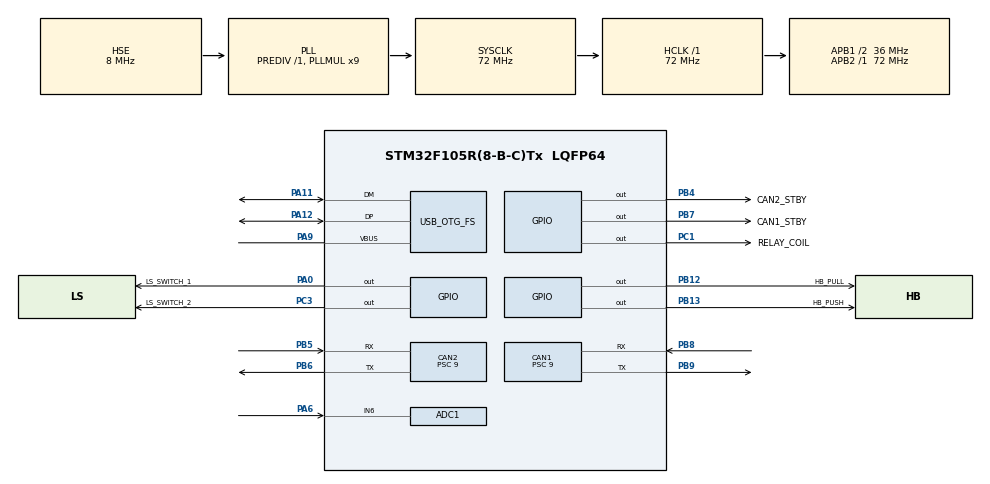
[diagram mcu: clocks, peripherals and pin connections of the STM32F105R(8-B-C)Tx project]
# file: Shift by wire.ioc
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ADC1.Channel-0\#ChannelRegularConversion=ADC_CHANNEL_6
ADC1.ContinuousConvMode=ENABLE
ADC1.NbrOfConversionFlag=1
ADC1.Rank-0\#ChannelRegularConversion=1
ADC1.SamplingTime-0\#ChannelRegularConversion=ADC_SAMPLETIME_1CYCLE_5
ADC1.master=1
CAN1.ABOM=ENABLE
CAN1.BS1=CAN_BS1_6TQ
CAN1.CalculateBaudRate=500000
CAN1.CalculateTimeBit=2000
CAN1.CalculateTimeQuantum=250.0
CAN1.NART=ENABLE
CAN1.Prescaler=9
CAN2.ABOM=ENABLE
CAN2.BS1=CAN_BS1_6TQ
CAN2.CalculateBaudRate=500000
CAN2.CalculateTimeBit=2000
CAN2.CalculateTimeQuantum=250.0
CAN2.NART=ENABLE
CAN2.Prescaler=9
FREERTOS.BinarySemaphores01=SartStopSem01,Dynamic,NULL;HandBrakeSem02,Dynamic,NULL;ParkBrakeSem03,Dynamic,NULL
FREERTOS.INCLUDE_vTaskDelayUntil=1
FREERTOS.Queues01=myQueue01,8,typedef_B5h,0,Dynamic,NULL,NULL;myQueue02,8,typedef_Command,0,Dynamic,NULL,NULL
FREERTOS.Tasks01=defaultTask,0,128,StartDefaultTask,Default,NULL,Dynamic,NULL,NULL;myButtonTask,-1,128,StartTask02,Default,NULL,Dynamic,NULL,NULL;myTask03,-2,128,HandBrake,Default,NULL,Dynamic,NULL,NULL;myTask04,-2,128,StartStop,Default,NULL,Dynamic,NULL,NULL;myTask05,-2,128,ParkBrake,Default,NULL,Dynamic,NULL,NULL
Mcu.Family=STM32F1
Mcu.Name=STM32F105R(8-B-C)Tx
Mcu.Package=LQFP64
NVIC.CAN1_RX0_IRQn=true\:5\:0\:false\:false\:true\:true\:true\:true\:true
NVIC.CAN1_TX_IRQn=true\:5\:0\:false\:false\:true\:true\:true\:true\:true
NVIC.CAN2_RX0_IRQn=true\:5\:0\:false\:false\:true\:true\:true\:true\:true
NVIC.CAN2_RX1_IRQn=true\:5\:0\:false\:false\:true\:true\:true\:true\:true
NVIC.CAN2_TX_IRQn=true\:5\:0\:false\:false\:true\:true\:true\:true\:true
NVIC.OTG_FS_IRQn=true\:5\:0\:false\:false\:true\:true\:false\:true\:true
NVIC.PriorityGroup=NVIC_PRIORITYGROUP_4
NVIC.TIM6_IRQn=true\:0\:0\:false\:false\:true\:false\:false\:true\:true
NVIC.TimeBase=TIM6_IRQn
NVIC.TimeBaseIP=TIM6
PA0-WKUP.GPIO_Label=LS_SWITCH_1
PA0-WKUP.Signal=GPIO_Output
PA11.Mode=Device_Only
PA11.Signal=USB_OTG_FS_DM
PA12.Mode=Device_Only
PA12.Signal=USB_OTG_FS_DP
PA13.Mode=Serial_Wire
PA13.Signal=SYS_JTMS-SWDIO
PA14.Mode=Serial_Wire
PA14.Signal=SYS_JTCK-SWCLK
PA6.Signal=ADCx_IN6
PA9.Mode=Activate_VBUS
PA9.Signal=USB_OTG_FS_VBUS
PB12.GPIO_Label=HB_PULL
PB12.Signal=GPIO_Output
PB13.GPIO_Label=HB_PUSH
PB13.Signal=GPIO_Output
PB4.GPIO_Label=CAN2_STBY
PB4.Signal=GPIO_Output
PB5.Mode=CAN_Activate
PB5.Signal=CAN2_RX
PB6.Mode=CAN_Activate
PB6.Signal=CAN2_TX
PB7.GPIO_Label=CAN1_STBY
PB7.Signal=GPIO_Output
PB8.Mode=CAN_Activate
PB8.Signal=CAN1_RX
PB9.Mode=CAN_Activate
PB9.Signal=CAN1_TX
PC1.GPIO_Label=RELAY_COIL
PC1.Signal=GPIO_Output
PC3.GPIO_Label=LS_SWITCH_2
PC3.Signal=GPIO_Output
PD0-OSC_IN.Mode=HSE-External-Oscillator
PD0-OSC_IN.Signal=RCC_OSC_IN
PD1-OSC_OUT.Mode=HSE-External-Oscillator
PD1-OSC_OUT.Signal=RCC_OSC_OUT
ProjectManager.HeapSize=0x200
ProjectManager.StackSize=0x400
ProjectManager.TargetToolchain=STM32CubeIDE
RCC.ADCPresc=RCC_ADCPCLK2_DIV6
RCC.AHBFreq_Value=72000000
RCC.APB1CLKDivider=RCC_HCLK_DIV2
RCC.APB1Freq_Value=36000000
RCC.APB1TimFreq_Value=72000000
RCC.APB2Freq_Value=72000000
RCC.APB2TimFreq_Value=72000000
RCC.HCLKFreq_Value=72000000
RCC.PLLMUL=RCC_PLL_MUL9
RCC.PLLSourceVirtual=RCC_PLLSOURCE_HSE
RCC.SYSCLKFreq_VALUE=72000000
RCC.SYSCLKSource=RCC_SYSCLKSOURCE_PLLCLK
RCC.USBFreq_Value=48000000
SH.ADCx_IN6.0=ADC1_IN6,IN6
USB_DEVICE.CLASS_NAME_FS=CDC
USB_DEVICE.VirtualMode=Cdc
USB_DEVICE.VirtualModeFS=Cdc_FS
USB_OTG_FS.VirtualMode=Device_Only
VP_FREERTOS_VS_CMSIS_V1.Mode=CMSIS_V1
VP_SYS_VS_tim6.Mode=TIM6
VP_USB_DEVICE_VS_USB_DEVICE_CDC_FS.Mode=CDC_FS
board=custom

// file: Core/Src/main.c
/* USER CODE BEGIN Header */
/**
  ******************************************************************************
  * @file           : main.c
  * @brief          : Main program body
  ******************************************************************************
  * @attention
  *
  * Copyright (c) 2023 STMicroelectronics.
  * All rights reserved.
  *
  * This software is licensed under terms that can be found in the LICENSE file
  * in the root directory of this software component.
  * If no LICENSE file comes with this software, it is provided AS-IS.
  *
  ******************************************************************************
  */
/* USER CODE END Header */
#include "main.h"
#include "cmsis_os.h"
#include "usb_device.h"

/* USER CODE BEGIN Includes */
#include "can_tools.h"
#include "GolfChecksum.h"
#include "GolfShift.h"
#include "GolfButtonImitation.h"

#include "usbd_cdc_if.h"
/* USER CODE END Includes */

/* USER CODE BEGIN PTD */
static uint8_t receive[64];
/* USER CODE END PTD */

ADC_HandleTypeDef hadc1;

CAN_HandleTypeDef hcan1;
CAN_HandleTypeDef hcan2;

osThreadId defaultTaskHandle;
osThreadId myButtonTaskHandle;
osThreadId myTask03Handle;
osThreadId myTask04Handle;
osThreadId myTask05Handle;
osMessageQId myQueue01Handle;
osMessageQId myQueue02Handle;
osSemaphoreId SartStopSem01Handle;
osSemaphoreId HandBrakeSem02Handle;
osSemaphoreId ParkBrakeSem03Handle;
/* USER CODE BEGIN PV */
typedef_343h ACCFrame;
typedef_Command Commandstruct;
typedef_343h Enject;
typedef_LTA LTA;
uint32_t adc;
/* USER CODE END PV */

void SystemClock_Config(void);
static void MX_GPIO_Init(void);
static void MX_CAN1_Init(void);
static void MX_CAN2_Init(void);
static void MX_ADC1_Init(void);
void StartDefaultTask(void const * argument);
void StartTask02(void const * argument);
void HandBrake(void const * argument);
void StartStop(void const * argument);
void ParkBrake(void const * argument);

int main(void)
{

  /* MCU Configuration--------------------------------------------------------*/

  /* Reset of all peripherals, Initializes the Flash interface and the Systick. */
  HAL_Init();

  /* Configure the system clock */
  SystemClock_Config();

  /* Initialize all configured peripherals */
  MX_GPIO_Init();
  MX_CAN1_Init();
  MX_CAN2_Init();
  MX_ADC1_Init();
  /* USER CODE BEGIN 2 */
  CAN_FilterConfig();
  HAL_ADC_Start(&hadc1);
  /* USER CODE END 2 */

  /* Create the semaphores(s) */
  /* definition and creation of SartStopSem01 */
  osSemaphoreDef(SartStopSem01);
  SartStopSem01Handle = osSemaphoreCreate(osSemaphore(SartStopSem01), 1);

  /* definition and creation of HandBrakeSem02 */
  osSemaphoreDef(HandBrakeSem02);
  HandBrakeSem02Handle = osSemaphoreCreate(osSemaphore(HandBrakeSem02), 1);

  /* definition and creation of ParkBrakeSem03 */
  osSemaphoreDef(ParkBrakeSem03);
  ParkBrakeSem03Handle = osSemaphoreCreate(osSemaphore(ParkBrakeSem03), 1);

  /* Create the queue(s) */
  /* definition and creation of myQueue01 */
  osMessageQDef(myQueue01, 8, uint8_t[8]);
  myQueue01Handle = osMessageCreate(osMessageQ(myQueue01), NULL);

  /* definition and creation of myQueue02 */
  osMessageQDef(myQueue02, 8, typedef_Command);
  myQueue02Handle = osMessageCreate(osMessageQ(myQueue02), NULL);

  /* Create the thread(s) */
  /* definition and creation of defaultTask */
  osThreadDef(defaultTask, StartDefaultTask, osPriorityNormal, 0, 128);
  defaultTaskHandle = osThreadCreate(osThread(defaultTask), NULL);

  /* definition and creation of myButtonTask */
  osThreadDef(myButtonTask, StartTask02, osPriorityBelowNormal, 0, 128);
  myButtonTaskHandle = osThreadCreate(osThread(myButtonTask), NULL);

  /* definition and creation of myTask03 */
  osThreadDef(myTask03, HandBrake, osPriorityLow, 0, 128);
  myTask03Handle = osThreadCreate(osThread(myTask03), NULL);

  /* definition and creation of myTask04 */
  osThreadDef(myTask04, StartStop, osPriorityLow, 0, 128);
  myTask04Handle = osThreadCreate(osThread(myTask04), NULL);

  /* definition and creation of myTask05 */
  osThreadDef(myTask05, ParkBrake, osPriorityLow, 0, 128);
  myTask05Handle = osThreadCreate(osThread(myTask05), NULL);

  /* Start scheduler */
  osKernelStart();

  /* We should never get here as control is now taken by the scheduler */
  /* Infinite loop */
  while (1)
  {

  }
}

void SystemClock_Config(void)
{
  RCC_OscInitTypeDef RCC_OscInitStruct = {0};
  RCC_ClkInitTypeDef RCC_ClkInitStruct = {0};
  RCC_PeriphCLKInitTypeDef PeriphClkInit = {0};

  /** Initializes the RCC Oscillators according to the specified parameters
  * in the RCC_OscInitTypeDef structure.
  */
  RCC_OscInitStruct.OscillatorType = RCC_OSCILLATORTYPE_HSE;
  RCC_OscInitStruct.HSEState = RCC_HSE_ON;
  RCC_OscInitStruct.HSEPredivValue = RCC_HSE_PREDIV_DIV1;
  RCC_OscInitStruct.HSIState = RCC_HSI_ON;
  RCC_OscInitStruct.Prediv1Source = RCC_PREDIV1_SOURCE_HSE;
  RCC_OscInitStruct.PLL.PLLState = RCC_PLL_ON;
  RCC_OscInitStruct.PLL.PLLSource = RCC_PLLSOURCE_HSE;
  RCC_OscInitStruct.PLL.PLLMUL = RCC_PLL_MUL9;
  RCC_OscInitStruct.PLL2.PLL2State = RCC_PLL_NONE;
  if (HAL_RCC_OscConfig(&RCC_OscInitStruct) != HAL_OK)
  {
    Error_Handler();
  }

  /** Initializes the CPU, AHB and APB buses clocks
  */
  RCC_ClkInitStruct.ClockType = RCC_CLOCKTYPE_HCLK|RCC_CLOCKTYPE_SYSCLK
                              |RCC_CLOCKTYPE_PCLK1|RCC_CLOCKTYPE_PCLK2;
  RCC_ClkInitStruct.SYSCLKSource = RCC_SYSCLKSOURCE_PLLCLK;
  RCC_ClkInitStruct.AHBCLKDivider = RCC_SYSCLK_DIV1;
  RCC_ClkInitStruct.APB1CLKDivider = RCC_HCLK_DIV2;
  RCC_ClkInitStruct.APB2CLKDivider = RCC_HCLK_DIV1;

  if (HAL_RCC_ClockConfig(&RCC_ClkInitStruct, FLASH_LATENCY_2) != HAL_OK)
  {
    Error_Handler();
  }
  PeriphClkInit.PeriphClockSelection = RCC_PERIPHCLK_ADC|RCC_PERIPHCLK_USB;
  PeriphClkInit.AdcClockSelection = RCC_ADCPCLK2_DIV6;
  PeriphClkInit.UsbClockSelection = RCC_USBCLKSOURCE_PLL_DIV3;
  if (HAL_RCCEx_PeriphCLKConfig(&PeriphClkInit) != HAL_OK)
  {
    Error_Handler();
  }

  /** Configure the Systick interrupt time
  */
  __HAL_RCC_PLLI2S_ENABLE();
}

static void MX_ADC1_Init(void)
{

  ADC_ChannelConfTypeDef sConfig = {0};

  /** Common config
  */
  hadc1.Instance = ADC1;
  hadc1.Init.ScanConvMode = ADC_SCAN_DISABLE;
  hadc1.Init.ContinuousConvMode = ENABLE;
  hadc1.Init.DiscontinuousConvMode = DISABLE;
  hadc1.Init.ExternalTrigConv = ADC_SOFTWARE_START;
  hadc1.Init.DataAlign = ADC_DATAALIGN_RIGHT;
  hadc1.Init.NbrOfConversion = 1;
  if (HAL_ADC_Init(&hadc1) != HAL_OK)
  {
    Error_Handler();
  }

  /** Configure Regular Channel
  */
  sConfig.Channel = ADC_CHANNEL_6;
  sConfig.Rank = ADC_REGULAR_RANK_1;
  sConfig.SamplingTime = ADC_SAMPLETIME_1CYCLE_5;
  if (HAL_ADC_ConfigChannel(&hadc1, &sConfig) != HAL_OK)
  {
    Error_Handler();
  }

}

static void MX_CAN1_Init(void)
{

  hcan1.Instance = CAN1;
  hcan1.Init.Prescaler = 9;
  hcan1.Init.Mode = CAN_MODE_NORMAL;
  hcan1.Init.SyncJumpWidth = CAN_SJW_1TQ;
  hcan1.Init.TimeSeg1 = CAN_BS1_6TQ;
  hcan1.Init.TimeSeg2 = CAN_BS2_1TQ;
  hcan1.Init.TimeTriggeredMode = DISABLE;
  hcan1.Init.AutoBusOff = ENABLE;
  hcan1.Init.AutoWakeUp = DISABLE;
  hcan1.Init.AutoRetransmission = ENABLE;
  hcan1.Init.ReceiveFifoLocked = DISABLE;
  hcan1.Init.TransmitFifoPriority = DISABLE;
  if (HAL_CAN_Init(&hcan1) != HAL_OK)
  {
    Error_Handler();
  }

}

static void MX_CAN2_Init(void)
{

  hcan2.Instance = CAN2;
  hcan2.Init.Prescaler = 9;
  hcan2.Init.Mode = CAN_MODE_NORMAL;
  hcan2.Init.SyncJumpWidth = CAN_SJW_1TQ;
  hcan2.Init.TimeSeg1 = CAN_BS1_6TQ;
  hcan2.Init.TimeSeg2 = CAN_BS2_1TQ;
  hcan2.Init.TimeTriggeredMode = DISABLE;
  hcan2.Init.AutoBusOff = ENABLE;
  hcan2.Init.AutoWakeUp = DISABLE;
  hcan2.Init.AutoRetransmission = ENABLE;
  hcan2.Init.ReceiveFifoLocked = DISABLE;
  hcan2.Init.TransmitFifoPriority = DISABLE;
  if (HAL_CAN_Init(&hcan2) != HAL_OK)
  {
    Error_Handler();
  }

}

static void MX_GPIO_Init(void)
{
  GPIO_InitTypeDef GPIO_InitStruct = {0};

  /* GPIO Ports Clock Enable */
  __HAL_RCC_GPIOD_CLK_ENABLE();
  __HAL_RCC_GPIOC_CLK_ENABLE();
  __HAL_RCC_GPIOA_CLK_ENABLE();
  __HAL_RCC_GPIOB_CLK_ENABLE();

  /*Configure GPIO pin Output Level */
  HAL_GPIO_WritePin(GPIOC, RELAY_COIL_Pin|LS_SWITCH_2_Pin, GPIO_PIN_RESET);

  /*Configure GPIO pin Output Level */
  HAL_GPIO_WritePin(LS_SWITCH_1_GPIO_Port, LS_SWITCH_1_Pin, GPIO_PIN_RESET);

  /*Configure GPIO pin Output Level */
  HAL_GPIO_WritePin(GPIOB, HB_PULL_Pin|HB_PUSH_Pin|CAN2_STBY_Pin|CAN1_STBY_Pin, GPIO_PIN_RESET);

  /*Configure GPIO pins : RELAY_COIL_Pin LS_SWITCH_2_Pin */
  GPIO_InitStruct.Pin = RELAY_COIL_Pin|LS_SWITCH_2_Pin;
  GPIO_InitStruct.Mode = GPIO_MODE_OUTPUT_PP;
  GPIO_InitStruct.Pull = GPIO_NOPULL;
  GPIO_InitStruct.Speed = GPIO_SPEED_FREQ_LOW;
  HAL_GPIO_Init(GPIOC, &GPIO_InitStruct);

  /*Configure GPIO pin : LS_SWITCH_1_Pin */
  GPIO_InitStruct.Pin = LS_SWITCH_1_Pin;
  GPIO_InitStruct.Mode = GPIO_MODE_OUTPUT_PP;
  GPIO_InitStruct.Pull = GPIO_NOPULL;
  GPIO_InitStruct.Speed = GPIO_SPEED_FREQ_LOW;
  HAL_GPIO_Init(LS_SWITCH_1_GPIO_Port, &GPIO_InitStruct);

  /*Configure GPIO pins : HB_PULL_Pin HB_PUSH_Pin CAN2_STBY_Pin CAN1_STBY_Pin */
  GPIO_InitStruct.Pin = HB_PULL_Pin|HB_PUSH_Pin|CAN2_STBY_Pin|CAN1_STBY_Pin;
  GPIO_InitStruct.Mode = GPIO_MODE_OUTPUT_PP;
  GPIO_InitStruct.Pull = GPIO_NOPULL;
  GPIO_InitStruct.Speed = GPIO_SPEED_FREQ_LOW;
  HAL_GPIO_Init(GPIOB, &GPIO_InitStruct);

}

/* USER CODE BEGIN 4 */
uint8_t data[64];
float SetSteering,  setAcc;
void CDC_ReceiveCallback(uint8_t *buf, uint32_t len) {
	memcpy((void *)receive,(const void *)buf,(size_t)len);
	memcpy((void *)&SetSteering,(const void *)&receive[2],(size_t)4);
	memcpy((void *)&setAcc,(const void *)&receive[6],(size_t)4);

}

uint8_t bytes[8],bytesc[8];
typedef_LTA LTAc;
int size;
struct{
	uint8_t rsv: 1;
	uint8_t STEER_REQUEST_2 :1;
	uint8_t LKA_ACTIVE:1;
	uint8_t rsv2:1;
	uint8_t SETME_X3 :2;
	uint8_t BIT :1;
	uint8_t rsv3 :1;
}byte3;
struct{
	uint8_t steer_request: 1;
	uint8_t cnt :6;
	uint8_t set_me_X1:1;
}byte0;
uint8_t SETME_X64 = 0,ANGLE = 0,PERCENTAGE = 0, Checksum;
int16_t SetSteerAngle;
int16_t SetACC;
/* USER CODE END 4 */

void StartDefaultTask(void const * argument)
{
  /* init code for USB_DEVICE */
  MX_USB_DEVICE_Init();
  /* USER CODE BEGIN 5 */
  /* Infinite loop */
  for(;;)
  {

	  xQueueReceive( myQueue02Handle, bytes, portMAX_DELAY );//Task will be blocked until CAN frame is recieved

	  			memcpy((void *)bytesc,(const void *)bytes,(size_t)8);
	  		/*	byte0.set_me_X1 = 1;
	  			byte0.steer_request = 1;
	  			byte0.cnt = (bytes[0] >> 1) & 0x3F;
	  			SETME_X64 = 100;
	  			ANGLE = 0;
	  			PERCENTAGE = 100;
	  			byte3.SETME_X3 = 3;
	  			byte3.STEER_REQUEST_2 = 1;
	  			byte3.BIT = 0;
	  			byte3.LKA_ACTIVE = 0;
	  		 	 	 */

	  			//SetSteerAngle = (int16_t)(Commandstruct.SetSteerAngle / 0.0573);
	  			SetACC = (int16_t)(setAcc / 0.001);
	  			/*bytesc[0] = *(uint8_t*)&byte0;
	  			bytesc[1] = SetSteerAngle >> 8;
	  			bytesc[2] = SetSteerAngle & 0x00FF;
	  			bytesc[3] = *(uint8_t*)&byte3;
				bytesc[4] = PERCENTAGE;
				bytesc[5] = SETME_X64;
				bytesc[6] = ANGLE;*/
	  			bytesc[0] = SetACC >> 8;
	  			bytesc[1] = SetACC & 0x00FF;
	  			bytesc[2] &= 0x40;
	  			bytesc[3] |= 0x40;// permit braking

	  			uint8_t temp[8];
	  			for(int i= 0;i<8;i++)
	  			{
	  				temp[i] = bytesc[7-i];
	  			}
	  			bytesc[7] = toyota_checksum(0x343, *(uint64_t*)temp, 8);
	  			//Checksum = toyota_checksum(0x191, *(uint64_t*)bytesc, 8);
	  			//bytesc[7] = Checksum;
	  		if(Commandstruct.AutonomuosMode){

	  			CAN_SendMessage(&hcan1,0x343,8, bytesc);

	  		}
	  		else
	  		{
	  			uint8_t temp[8];
	  			for(int i= 0;i<8;i++)
	  			{
	  				temp[i] = bytes[7-i];
	  			}
	  			bytes[7] = toyota_checksum(0x343, *(uint64_t*)temp, 8);

	  			CAN_SendMessage(&hcan1,0x343,8, bytes);

	  		}

	  		//osDelay(1);

  }
  /* USER CODE END 5 */
}

void StartTask02(void const * argument)
{
  /* USER CODE BEGIN StartTask02 */
  /* Infinite loop */
  for(;;)
  {
	adc = HAL_ADC_GetValue(&hadc1);
	float min = -100;
	float max = 100;
	Commandstruct.SetSteerAngle = (float)((float)adc - 100.0f) * (float)(max - min) / (float)(2015.0f - 100.0f) + min;
	Commandstruct.SetSteerAngle = Commandstruct.SetSteerAngle > 540 ? 540 : Commandstruct.SetSteerAngle;
	Commandstruct.SetSteerAngle = Commandstruct.SetSteerAngle < -540 ? -540 : Commandstruct.SetSteerAngle;
	osDelay(1);
  }
  /* USER CODE END StartTask02 */
}

void HandBrake(void const * argument)
{
  /* USER CODE BEGIN HandBrake */
  /* Infinite loop */
  for(;;)
  {
	 //uint8_t usb_txbuffer[6] ="txxx" ;
	 // CDC_Transmit_FS(usb_txbuffer, 6);
    osDelay(1);
  }
  /* USER CODE END HandBrake */
}

/* USER CODE BEGIN Header_StartStop */
/**
* @brief Function implementing the myTask04 thread.
* @param argument: Not used
* @retval None
*/
uint8_t byteD[8],bytesE[8];
/* USER CODE END Header_StartStop */
void StartStop(void const * argument)
{
  /* USER CODE BEGIN StartStop */
  /* Infinite loop */
  for(;;)
  {
	  xQueueReceive( myQueue01Handle, byteD, portMAX_DELAY );
		memcpy((void *)bytesE,(const void *)byteD,(size_t)8);
		  			byte0.set_me_X1 = 1;
		  			byte0.steer_request = 1;
		  			byte0.cnt = (bytes[0] >> 1) & 0x3F;
		  			SETME_X64 = 100;
		  			ANGLE = 0;
		  			PERCENTAGE = 100;
		  			byte3.SETME_X3 = 3;
		  			byte3.STEER_REQUEST_2 = 1;
		  			byte3.BIT = 0;
		  			byte3.LKA_ACTIVE = 0;

		  			SetSteering = SetSteering > 99 ? 99 : SetSteering;
		  			SetSteering = SetSteering < -99 ? -99 : SetSteering;
		  			SetSteerAngle = -(int16_t)(SetSteering / 0.0573);
		  			//SetACC = (int16_t)(Commandstruct.SetSteerAngle / 0.02);
		  			bytesE[0] = *(uint8_t*)&byte0;
		  			bytesE[1] = SetSteerAngle >> 8;
		  			bytesE[2] = SetSteerAngle & 0x00FF;
		  			bytesE[3] = *(uint8_t*)&byte3;
		  			bytesE[4] = PERCENTAGE;
		  			bytesE[5] = SETME_X64;
					bytesE[6] = ANGLE;

		  			uint8_t temp[8];
		  			for(int i= 0;i<8;i++)
		  			{
		  				temp[i] = bytesE[7-i];
		  			}
		  			bytesE[7] = toyota_checksum(0x191, *(uint64_t*)temp, 8);
		  			//Checksum = toyota_checksum(0x191, *(uint64_t*)bytesc, 8);
		  			//bytesc[7] = Checksum;
		  		if(Commandstruct.AutonomuosMode){

		  			CAN_SendMessage(&hcan1,0x191,8, bytesE);

		  		}
		  		else
		  		{
		  			uint8_t temp[8];
		  			for(int i= 0;i<8;i++)
		  			{
		  				temp[i] = byteD[7-i];
		  			}
		  			bytes[7] = toyota_checksum(0x191, *(uint64_t*)temp, 8);

		  			CAN_SendMessage(&hcan1,0x191,8, byteD);

		  		}

    osDelay(1);
  }
  /* USER CODE END StartStop */
}

void ParkBrake(void const * argument)
{
  for(;;)
  {
    osDelay(1);
  }
}

void HAL_TIM_PeriodElapsedCallback(TIM_HandleTypeDef *htim)
{
  if (htim->Instance == TIM6) {
    HAL_IncTick();
  }
}

void Error_Handler(void)
{
  __disable_irq();
  while (1)
  {
  }
}
